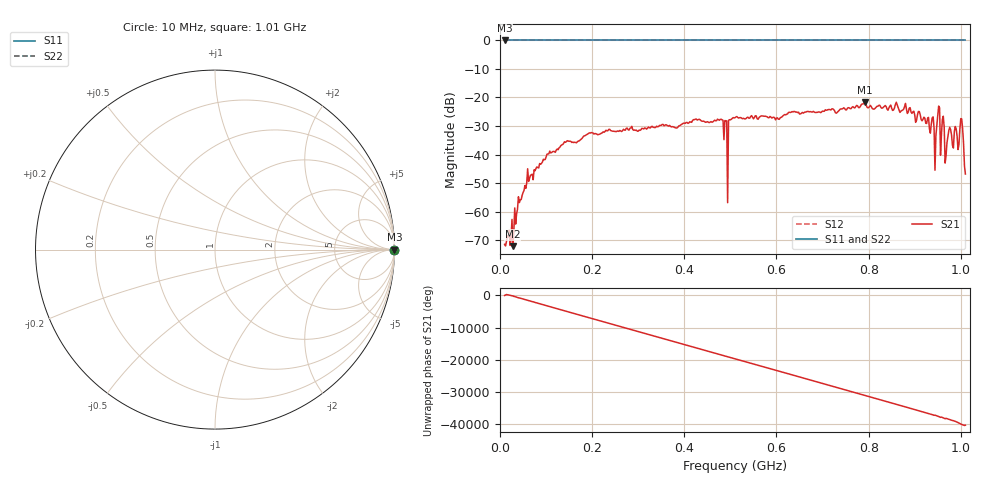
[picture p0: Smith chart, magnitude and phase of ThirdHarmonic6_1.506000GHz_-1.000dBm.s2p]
! 8/16/2025 5:43:07 PM
! C:\ANRITSUVNA\TEMP\TEMP.S2P
! CHANNEL.1
! TR.MEASUREMENT
! RAW.DATA
! RF.CORRECTION.OFF
! AVERAGING.OFF
! IF.BANDWIDTH: 5KHZ
! SWEEPTYPE:  FREQ.SWEEP(Linear)
! Reference Plane Port Info
! PORT:  PORT1  PORT2
! DISTANCE:  0  m  0  m
! TIME:  0  s  0  s
! PHASE.OFFSET:  0  deg.  0  deg.
! LOSS:  0  dB  0  dB
! REF.LOSS:  0  dB  0  dB
! REF.FREQ:  0  Hz  0  Hz
! Power Info
! POWER:  -20  dBm  -20  dBm
! EFF.POWER:  -20  dBm  -20  dBm
! SOURCE.ATTEN:  0  dB  0  dB
! TEST.ATTEN:  0  dB  0  dB
# GHZ S RI R 50.0
! FREQ.GHZ  S11RE  S11IM  S21RE  S21IM  S12RE  S12IM  S22RE  S22IM
!; PortSelection: Port_12
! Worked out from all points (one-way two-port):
!   501 points, 10 MHz to 1.01 GHz, reference 50 ohm
!   highest |S21| = -21.63 dB at 792 MHz (marker M1); lowest = -72.1 dB at 28 MHz (marker M2)
!   lowest |S11| = 0.0 dB at 10 MHz (marker M3)
!   |S11| at or under -10 dB: nowhere
!   |S22| runs from 0.0 to 0.0 dB; largest |S21 - S12| = 1.1
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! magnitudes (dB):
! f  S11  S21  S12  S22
! 10 MHz  0.0  -71.5  0.0  0.0
! 28 MHz  0.0  -72.1  0.0  0.0
! 64 MHz  0.0  -48.5  0.0  0.0
! 106 MHz  0.0  -39.7  0.0  0.0
! 178 MHz  0.0  -34.4  0.0  0.0
! 344 MHz  0.0  -30.2  0.0  0.0
! 480 MHz  0.0  -27.6  0.0  0.0
! 488 MHz  0.0  -28.1  0.0  0.0
! 490 MHz  0.0  -28.2  0.0  0.0
! 498 MHz  0.0  -27.8  0.0  0.0
! 500 MHz  0.0  -27.8  0.0  0.0
! 510 MHz  0.0  -27.1  0.0  0.0
! 678 MHz  0.0  -25.1  0.0  0.0
! 792 MHz  0.0  -21.6  0.0  0.0
! 844 MHz  0.0  -23.7  0.0  0.0
! 910 MHz  0.0  -24.9  0.0  0.0
! 944 MHz  0.0  -45.5  0.0  0.0
! 950 MHz  0.0  -26.3  0.0  0.0
! 970 MHz  0.0  -35.9  0.0  0.0
! 976 MHz  0.0  -30.5  0.0  0.0
! 1.002 GHz  0.0  -27.5  0.0  0.0
! 1.01 GHz  0.0  -46.9  0.0  0.0
